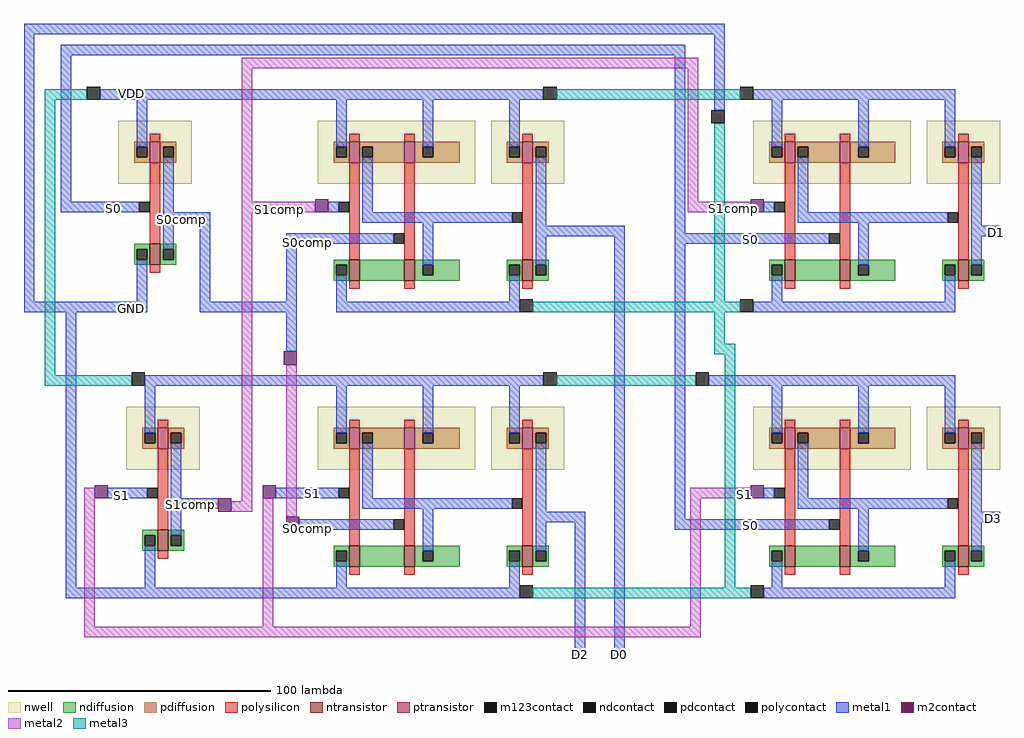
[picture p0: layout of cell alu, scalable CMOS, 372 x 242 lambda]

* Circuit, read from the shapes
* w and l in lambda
.subckt alu D0 D1 D2 D3 GND S0 S0comp S1 S1comp VDD
M1 S0comp S0 GND VSUBS nfet w=8 l=4
M2 S1comp S1 GND VSUBS nfet w=8 l=4
M3 n1 S1 GND VSUBS nfet w=8 l=4
M4 n2 S1comp GND VSUBS nfet w=8 l=4
M5 n3 S0comp n1 VSUBS nfet w=8 l=4
M6 n4 S0comp n2 VSUBS nfet w=8 l=4
M7 D2 n3 GND VSUBS nfet w=8 l=4
M8 D0 n4 GND VSUBS nfet w=8 l=4
M9 n5 S1 GND VSUBS nfet w=8 l=4
M10 n6 S1comp GND VSUBS nfet w=8 l=4
M11 n7 S0 n5 VSUBS nfet w=8 l=4
M12 n8 S0 n6 VSUBS nfet w=8 l=4
M13 D3 n7 GND VSUBS nfet w=8 l=4
M14 D1 n8 GND VSUBS nfet w=8 l=4
M15 S0comp S0 VDD n9 pfet w=8 l=4
M16 S1comp S1 VDD n10 pfet w=8 l=4
M17 n3 S1 VDD n11 pfet w=8 l=4
M18 n4 S1comp VDD n12 pfet w=8 l=4
M19 VDD S0comp n3 n11 pfet w=8 l=4
M20 VDD S0comp n4 n12 pfet w=8 l=4
M21 D2 n3 VDD n13 pfet w=8 l=4
M22 D0 n4 VDD n14 pfet w=8 l=4
M23 n7 S1 VDD n15 pfet w=8 l=4
M24 n8 S1comp VDD n16 pfet w=8 l=4
M25 VDD S0 n7 n15 pfet w=8 l=4
M26 VDD S0 n8 n16 pfet w=8 l=4
M27 D3 n7 VDD n17 pfet w=8 l=4
M28 D1 n8 VDD n18 pfet w=8 l=4
.ends

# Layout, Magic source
magic
tech scmos
<< nwell >>
rect -58 0 -30 24
rect 18 0 78 24
rect 84 0 112 24
rect 184 0 244 24
rect 250 0 278 24
rect -55 -109 -27 -85
rect 18 -109 78 -85
rect 84 -109 112 -85
rect 184 -109 244 -85
rect 250 -109 278 -85
<< ntransistor >>
rect -46 -31 -42 -23
rect 30 -37 34 -29
rect 51 -37 55 -29
rect 96 -37 100 -29
rect 196 -37 200 -29
rect 217 -37 221 -29
rect 262 -37 266 -29
rect -43 -140 -39 -132
rect 30 -146 34 -138
rect 51 -146 55 -138
rect 96 -146 100 -138
rect 196 -146 200 -138
rect 217 -146 221 -138
rect 262 -146 266 -138
<< ptransistor >>
rect -46 8 -42 16
rect 30 8 34 16
rect 51 8 55 16
rect 96 8 100 16
rect 196 8 200 16
rect 217 8 221 16
rect 262 8 266 16
rect -43 -101 -39 -93
rect 30 -101 34 -93
rect 51 -101 55 -93
rect 96 -101 100 -93
rect 196 -101 200 -93
rect 217 -101 221 -93
rect 262 -101 266 -93
<< ndiffusion >>
rect -52 -25 -46 -23
rect -52 -29 -51 -25
rect -47 -29 -46 -25
rect -52 -31 -46 -29
rect -42 -25 -36 -23
rect -42 -29 -41 -25
rect -37 -29 -36 -25
rect -42 -31 -36 -29
rect 24 -31 30 -29
rect 24 -35 25 -31
rect 29 -35 30 -31
rect 24 -37 30 -35
rect 34 -37 51 -29
rect 55 -31 72 -29
rect 55 -35 58 -31
rect 62 -35 72 -31
rect 55 -37 72 -35
rect 90 -31 96 -29
rect 90 -35 91 -31
rect 95 -35 96 -31
rect 90 -37 96 -35
rect 100 -31 106 -29
rect 100 -35 101 -31
rect 105 -35 106 -31
rect 100 -37 106 -35
rect 190 -31 196 -29
rect 190 -35 191 -31
rect 195 -35 196 -31
rect 190 -37 196 -35
rect 200 -37 217 -29
rect 221 -31 238 -29
rect 221 -35 224 -31
rect 228 -35 238 -31
rect 221 -37 238 -35
rect 256 -31 262 -29
rect 256 -35 257 -31
rect 261 -35 262 -31
rect 256 -37 262 -35
rect 266 -31 272 -29
rect 266 -35 267 -31
rect 271 -35 272 -31
rect 266 -37 272 -35
rect -49 -134 -43 -132
rect -49 -138 -48 -134
rect -44 -138 -43 -134
rect -49 -140 -43 -138
rect -39 -134 -33 -132
rect -39 -138 -38 -134
rect -34 -138 -33 -134
rect -39 -140 -33 -138
rect 24 -140 30 -138
rect 24 -144 25 -140
rect 29 -144 30 -140
rect 24 -146 30 -144
rect 34 -146 51 -138
rect 55 -140 72 -138
rect 55 -144 58 -140
rect 62 -144 72 -140
rect 55 -146 72 -144
rect 90 -140 96 -138
rect 90 -144 91 -140
rect 95 -144 96 -140
rect 90 -146 96 -144
rect 100 -140 106 -138
rect 100 -144 101 -140
rect 105 -144 106 -140
rect 100 -146 106 -144
rect 190 -140 196 -138
rect 190 -144 191 -140
rect 195 -144 196 -140
rect 190 -146 196 -144
rect 200 -146 217 -138
rect 221 -140 238 -138
rect 221 -144 224 -140
rect 228 -144 238 -140
rect 221 -146 238 -144
rect 256 -140 262 -138
rect 256 -144 257 -140
rect 261 -144 262 -140
rect 256 -146 262 -144
rect 266 -140 272 -138
rect 266 -144 267 -140
rect 271 -144 272 -140
rect 266 -146 272 -144
<< pdiffusion >>
rect -52 14 -46 16
rect -52 10 -51 14
rect -47 10 -46 14
rect -52 8 -46 10
rect -42 14 -36 16
rect -42 10 -41 14
rect -37 10 -36 14
rect -42 8 -36 10
rect 24 14 30 16
rect 24 10 25 14
rect 29 10 30 14
rect 24 8 30 10
rect 34 14 51 16
rect 34 10 35 14
rect 39 10 51 14
rect 34 8 51 10
rect 55 14 72 16
rect 55 10 58 14
rect 62 10 72 14
rect 55 8 72 10
rect 90 14 96 16
rect 90 10 91 14
rect 95 10 96 14
rect 90 8 96 10
rect 100 14 106 16
rect 100 10 101 14
rect 105 10 106 14
rect 100 8 106 10
rect 190 14 196 16
rect 190 10 191 14
rect 195 10 196 14
rect 190 8 196 10
rect 200 14 217 16
rect 200 10 201 14
rect 205 10 217 14
rect 200 8 217 10
rect 221 14 238 16
rect 221 10 224 14
rect 228 10 238 14
rect 221 8 238 10
rect 256 14 262 16
rect 256 10 257 14
rect 261 10 262 14
rect 256 8 262 10
rect 266 14 272 16
rect 266 10 267 14
rect 271 10 272 14
rect 266 8 272 10
rect -49 -95 -43 -93
rect -49 -99 -48 -95
rect -44 -99 -43 -95
rect -49 -101 -43 -99
rect -39 -95 -33 -93
rect -39 -99 -38 -95
rect -34 -99 -33 -95
rect -39 -101 -33 -99
rect 24 -95 30 -93
rect 24 -99 25 -95
rect 29 -99 30 -95
rect 24 -101 30 -99
rect 34 -95 51 -93
rect 34 -99 35 -95
rect 39 -99 51 -95
rect 34 -101 51 -99
rect 55 -95 72 -93
rect 55 -99 58 -95
rect 62 -99 72 -95
rect 55 -101 72 -99
rect 90 -95 96 -93
rect 90 -99 91 -95
rect 95 -99 96 -95
rect 90 -101 96 -99
rect 100 -95 106 -93
rect 100 -99 101 -95
rect 105 -99 106 -95
rect 100 -101 106 -99
rect 190 -95 196 -93
rect 190 -99 191 -95
rect 195 -99 196 -95
rect 190 -101 196 -99
rect 200 -95 217 -93
rect 200 -99 201 -95
rect 205 -99 217 -95
rect 200 -101 217 -99
rect 221 -95 238 -93
rect 221 -99 224 -95
rect 228 -99 238 -95
rect 221 -101 238 -99
rect 256 -95 262 -93
rect 256 -99 257 -95
rect 261 -99 262 -95
rect 256 -101 262 -99
rect 266 -95 272 -93
rect 266 -99 267 -95
rect 271 -99 272 -95
rect 266 -101 272 -99
<< ndcontact >>
rect -51 -29 -47 -25
rect -41 -29 -37 -25
rect 25 -35 29 -31
rect 58 -35 62 -31
rect 91 -35 95 -31
rect 101 -35 105 -31
rect 191 -35 195 -31
rect 224 -35 228 -31
rect 257 -35 261 -31
rect 267 -35 271 -31
rect -48 -138 -44 -134
rect -38 -138 -34 -134
rect 25 -144 29 -140
rect 58 -144 62 -140
rect 91 -144 95 -140
rect 101 -144 105 -140
rect 191 -144 195 -140
rect 224 -144 228 -140
rect 257 -144 261 -140
rect 267 -144 271 -140
<< pdcontact >>
rect -51 10 -47 14
rect -41 10 -37 14
rect 25 10 29 14
rect 35 10 39 14
rect 58 10 62 14
rect 91 10 95 14
rect 101 10 105 14
rect 191 10 195 14
rect 201 10 205 14
rect 224 10 228 14
rect 257 10 261 14
rect 267 10 271 14
rect -48 -99 -44 -95
rect -38 -99 -34 -95
rect 25 -99 29 -95
rect 35 -99 39 -95
rect 58 -99 62 -95
rect 91 -99 95 -95
rect 101 -99 105 -95
rect 191 -99 195 -95
rect 201 -99 205 -95
rect 224 -99 228 -95
rect 257 -99 261 -95
rect 267 -99 271 -95
<< polysilicon >>
rect -46 16 -42 19
rect 30 16 34 19
rect 51 16 55 19
rect 96 16 100 19
rect 196 16 200 19
rect 217 16 221 19
rect 262 16 266 19
rect -46 -23 -42 8
rect 30 -29 34 8
rect 51 -29 55 8
rect 96 -29 100 8
rect 196 -29 200 8
rect 217 -29 221 8
rect 262 -29 266 8
rect -46 -34 -42 -31
rect 30 -40 34 -37
rect 51 -40 55 -37
rect 96 -40 100 -37
rect 196 -40 200 -37
rect 217 -40 221 -37
rect 262 -40 266 -37
rect -43 -93 -39 -90
rect 30 -93 34 -90
rect 51 -93 55 -90
rect 96 -93 100 -90
rect 196 -93 200 -90
rect 217 -93 221 -90
rect 262 -93 266 -90
rect -43 -132 -39 -101
rect 30 -138 34 -101
rect 51 -138 55 -101
rect 96 -138 100 -101
rect 196 -138 200 -101
rect 217 -138 221 -101
rect 262 -138 266 -101
rect -43 -143 -39 -140
rect 30 -149 34 -146
rect 51 -149 55 -146
rect 96 -149 100 -146
rect 196 -149 200 -146
rect 217 -149 221 -146
rect 262 -149 266 -146
<< polycontact >>
rect -50 -11 -46 -7
rect 26 -11 30 -7
rect 47 -23 51 -19
rect 92 -15 96 -11
rect 192 -11 196 -7
rect 213 -23 217 -19
rect 258 -15 262 -11
rect -47 -120 -43 -116
rect 26 -120 30 -116
rect 47 -132 51 -128
rect 92 -124 96 -120
rect 192 -120 196 -116
rect 213 -132 217 -128
rect 258 -124 262 -120
<< metal1 >>
rect -94 57 173 61
rect -94 -45 -90 57
rect -80 49 158 53
rect -80 -7 -76 49
rect -65 32 104 36
rect -51 14 -47 32
rect 25 14 29 32
rect 58 14 62 32
rect 91 14 95 32
rect -80 -11 -50 -7
rect -41 -11 -37 10
rect 22 -11 26 -7
rect 35 -11 39 10
rect -41 -15 -23 -11
rect 35 -15 92 -11
rect -41 -25 -37 -15
rect -51 -45 -47 -29
rect -94 -49 -47 -45
rect -27 -45 -23 -15
rect 6 -23 47 -19
rect 6 -45 10 -23
rect 58 -31 62 -15
rect 101 -16 105 10
rect 101 -20 135 -16
rect 101 -31 105 -20
rect -27 -49 10 -45
rect 25 -45 29 -35
rect 91 -45 95 -35
rect 25 -49 95 -45
rect -78 -154 -74 -49
rect 6 -64 10 -49
rect -48 -77 104 -73
rect -48 -95 -44 -77
rect 25 -95 29 -77
rect 58 -95 62 -77
rect 91 -95 95 -77
rect -62 -120 -47 -116
rect -38 -120 -34 -99
rect 2 -120 26 -116
rect 35 -120 39 -99
rect -38 -124 -20 -120
rect -38 -134 -34 -124
rect 35 -124 92 -120
rect 11 -132 47 -128
rect -48 -154 -44 -138
rect 58 -140 62 -124
rect 101 -125 105 -99
rect 101 -129 120 -125
rect 101 -140 105 -129
rect 25 -154 29 -144
rect 91 -154 95 -144
rect -78 -158 95 -154
rect 116 -181 120 -129
rect 131 -181 135 -20
rect 154 -19 158 49
rect 169 28 173 57
rect 184 32 261 36
rect 191 14 195 32
rect 224 14 228 32
rect 257 14 261 32
rect 188 -11 192 -7
rect 201 -11 205 10
rect 201 -15 258 -11
rect 154 -23 213 -19
rect 154 -128 158 -23
rect 224 -31 228 -15
rect 267 -16 271 10
rect 267 -20 278 -16
rect 267 -31 271 -20
rect 191 -45 195 -35
rect 257 -45 261 -35
rect 184 -49 261 -45
rect 167 -77 261 -73
rect 191 -95 195 -77
rect 224 -95 228 -77
rect 257 -95 261 -77
rect 188 -120 192 -116
rect 201 -120 205 -99
rect 201 -124 258 -120
rect 154 -132 213 -128
rect 224 -140 228 -124
rect 267 -125 271 -99
rect 267 -129 278 -125
rect 267 -140 271 -129
rect 191 -154 195 -144
rect 257 -154 261 -144
rect 188 -158 261 -154
<< m2contact >>
rect 17 -11 22 -6
rect 5 -69 10 -64
rect -67 -120 -62 -115
rect -3 -120 2 -115
rect -20 -125 -15 -120
rect 6 -132 11 -127
rect 183 -11 188 -6
rect 183 -120 188 -115
<< metal2 >>
rect -11 44 163 48
rect -11 -7 -7 44
rect -11 -11 17 -7
rect 159 -7 163 44
rect 159 -11 183 -7
rect -71 -169 -67 -116
rect -11 -121 -7 -11
rect -15 -125 -7 -121
rect -3 -169 1 -120
rect 6 -127 10 -69
rect 160 -120 183 -116
rect 160 -169 164 -120
rect -71 -173 164 -169
<< m123contact >>
rect -70 32 -65 37
rect 104 32 109 37
rect 179 32 184 37
rect 168 23 173 28
rect -53 -77 -48 -72
rect 95 -49 100 -44
rect 179 -49 184 -44
rect 104 -77 109 -72
rect 162 -77 167 -72
rect 95 -158 100 -153
rect 183 -158 188 -153
<< metal3 >>
rect -86 32 -70 36
rect 109 32 179 36
rect -86 -73 -82 32
rect 169 -45 173 23
rect 100 -49 179 -45
rect 169 -61 173 -49
rect 169 -65 177 -61
rect -86 -77 -53 -73
rect 109 -77 162 -73
rect 173 -154 177 -65
rect 100 -158 183 -154
<< labels >>
rlabel metal1 -62 -11 -58 -8 1 S0
rlabel metal1 -54 34 -52 35 4 VDD
rlabel metal1 -54 -48 -52 -47 2 GND
rlabel metal1 -36 -14 -32 -13 1 S0comp
rlabel metal1 181 -22 185 -21 1 S0
rlabel metal2 175 -10 178 -9 1 S1comp
rlabel metal1 12 -23 16 -22 1 S0comp
rlabel metal2 2 -11 5 -9 1 S1comp
rlabel metal1 -59 -120 -55 -118 1 S1
rlabel metal1 -32 -123 -29 -122 1 S1comp
rlabel metal1 12 -132 16 -131 1 S0comp
rlabel metal1 14 -119 18 -117 1 S1
rlabel metal1 181 -131 185 -130 1 S0
rlabel metal2 179 -119 182 -118 1 S1
rlabel metal1 117 -180 119 -179 1 D2
rlabel metal1 132 -180 134 -179 1 D0
rlabel metal1 274 -128 277 -127 7 D3
rlabel metal1 275 -19 278 -18 7 D1
<< end >>
